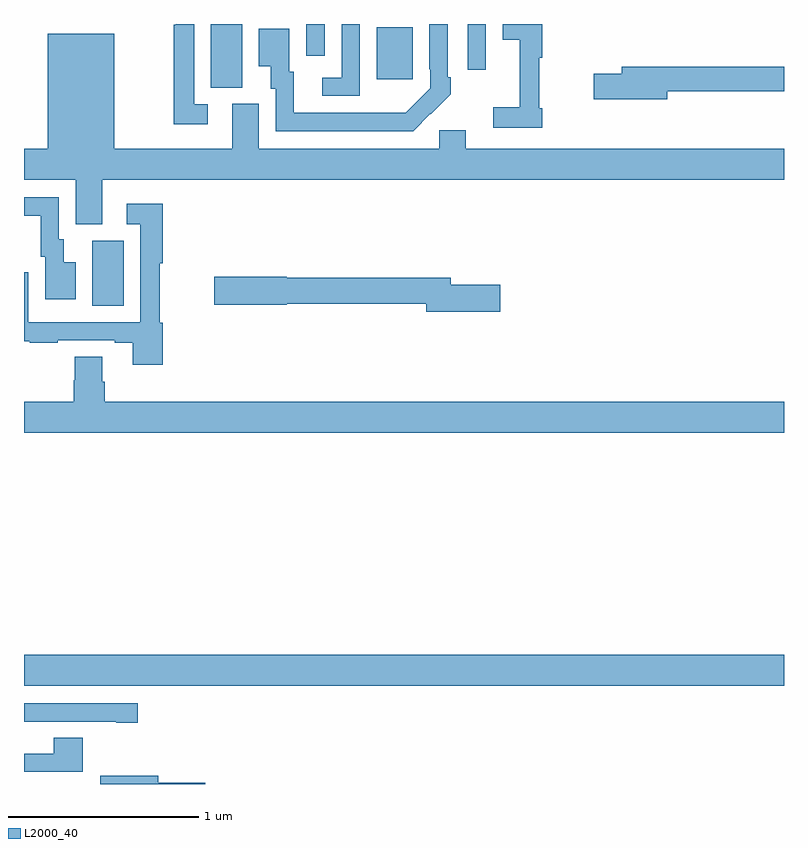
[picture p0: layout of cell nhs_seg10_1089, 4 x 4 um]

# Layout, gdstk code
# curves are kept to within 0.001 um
import gdstk
lib = gdstk.Library(unit=1e-6, precision=1e-09)
def R(c, l, rs):  # rectangles x0, y0, x1, y1
    for r in rs: c.add(gdstk.rectangle(r[:2], r[2:], *l))
def P(c, l, *ps):  # polygons
    for p in ps: c.add(gdstk.Polygon(p, *l))
L2000_40 = (2000, 40)

nhs_seg10_1089 = lib.new_cell('nhs_seg10_1089')
R(nhs_seg10_1089, L2000_40, [(167,1267.016,171,1267.18), (167.36,1269.016,167.524,1269.36), (167.984,1270.165,168.148,1270.5), (168.857,1270.209,169.045,1270.483), (169.335,1270.26,169.431,1270.5), (168.486,1270.332,168.582,1270.5)])
P(nhs_seg10_1089, L2000_40, [(169.727,1270.057),(169.712,1270.057),(169.712,1270.322),(169.727,1270.322),(169.727,1270.5),(169.52,1270.5),(169.52,1270.418),(169.61,1270.418),(169.61,1270.063),(169.47,1270.063),(169.47,1269.954),(169.727,1269.954)],
  [(167.968,1270.077),(167.895,1270.077),(167.895,1270.5),(167.799,1270.5),(167.799,1270.496),(167.787,1270.496),(167.787,1269.972),(167.968,1269.972)],
  [(168.768,1270.5),(168.672,1270.5),(168.672,1270.218),(168.57,1270.218),(168.57,1270.122),(168.768,1270.122)],
  [(169.139,1270.027),(169.14,1270.026),(169.245,1270.131),(169.245,1270.219),(169.23,1270.219),(169.23,1270.5),(169.134,1270.5),(169.134,1270.261),(169.137,1270.261),(169.137,1270.161),(169.009,1270.033),(168.421,1270.032),(168.421,1270.248),(168.397,1270.248),(168.397,1270.474),(168.236,1270.474),(168.236,1270.277),(168.299,1270.277),(168.299,1270.158),(168.324,1270.158),(168.324,1269.936),(169.048,1269.936)],
  [(167.413,1269.68),(171,1269.68),(171,1269.844),(169.324,1269.844),(169.324,1269.942),(169.185,1269.942),(169.185,1269.844),(168.235,1269.844),(168.235,1270.08),(168.095,1270.08),(168.095,1269.844),(167.476,1269.844),(167.476,1270.45),(167.126,1270.45),(167.126,1269.844),(167,1269.844),(167,1269.68),(167.273,1269.68),(167.273,1269.445),(167.413,1269.445)],
  [(170.386,1270.146),(171,1270.146),(171,1270.274),(170.147,1270.274),(170.147,1270.238),(169.998,1270.238),(169.998,1270.103),(170.386,1270.103)],
  [(167.272,1269.247),(167.209,1269.247),(167.209,1269.366),(167.184,1269.366),(167.184,1269.588),(167,1269.588),(167,1269.492),(167.087,1269.492),(167.087,1269.276),(167.111,1269.276),(167.111,1269.051),(167.272,1269.051)],
  [(167.729,1268.928),(167.714,1268.928),(167.714,1269.24),(167.729,1269.24),(167.729,1269.553),(167.541,1269.553),(167.541,1269.447),(167.613,1269.447),(167.613,1268.931),(167.022,1268.931),(167.022,1269.193),(167,1269.193),(167,1268.829),(167.029,1268.829),(167.029,1268.823),(167.177,1268.823),(167.177,1268.835),(167.477,1268.835),(167.477,1268.823),(167.573,1268.823),(167.573,1268.706),(167.729,1268.706)],
  [(169.507,1269.128),(169.246,1269.128),(169.246,1269.164),(168.384,1269.164),(168.384,1269.17),(168,1269.17),(168,1269.023),(168.384,1269.023),(168.384,1269.028),(169.118,1269.028),(169.118,1268.986),(169.507,1268.986)],
  [(171,1268.512),(167.426,1268.512),(167.426,1268.618),(167.413,1268.618),(167.413,1268.75),(167.266,1268.75),(167.266,1268.625),(167.261,1268.625),(167.261,1268.512),(167,1268.512),(167,1268.348),(171,1268.348)],
  [(167.599,1266.924),(167,1266.924),(167,1266.828),(167.486,1266.828),(167.486,1266.823),(167.599,1266.823)],
  [(167.309,1266.743),(167.156,1266.743),(167.156,1266.66),(167,1266.66),(167,1266.564),(167.309,1266.564)],
  [(167.953,1266.506),(167.707,1266.506),(167.707,1266.544),(167.4,1266.544),(167.4,1266.5),(167.953,1266.5)])

lib.write_gds('nhs_seg10_1089.gds')
